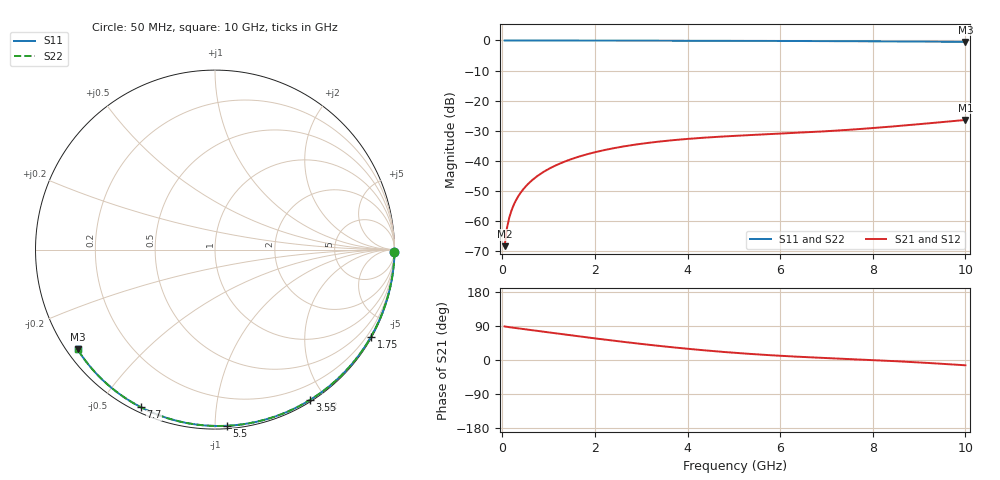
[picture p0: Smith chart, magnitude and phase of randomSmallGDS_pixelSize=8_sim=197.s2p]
! freq	dB(S11)	phase(S11)	dB(S12)	phase(S12)
!  dB(S21)	phase(S21)	dB(S22)	phase(S22)
!S-par simulation data
#  GHz  S  DB  R 50
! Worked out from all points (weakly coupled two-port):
!   200 points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, 50 MHz to 10 GHz, reference 50 ohm
!   highest |S21| = -26.39 dB at 10 GHz (marker M1); lowest = -68.3 dB at 50 MHz (marker M2)
!   lowest |S11| = -0.5 dB at 10 GHz (marker M3), VSWR 36.27, Z = 1.52 - j16.2 ohm
!   |S11| at or under -10 dB: nowhere
!   |S22| runs from -0.5 to 0.0 dB; largest |S21 - S12| = 0
!   S11 on the Smith chart (normalised r, x): 50 MHz: open; 1.75 GHz: 0.03, -3.84; 3.55 GHz: 0.02, -1.82; 5.5 GHz: 0.02, -1.07; 7.7 GHz: 0.02, -0.63; 10 GHz: 0.03, -0.32
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0.05  -0.00 -0.9  -68.28 88.7  -68.28 88.7  -0.00 -0.9
0.1  -0.00 -1.7  -62.30 87.5  -62.30 87.5  -0.00 -1.7
0.15  -0.00 -2.6  -58.83 86.6  -58.83 86.6  -0.00 -2.6
0.2  -0.00 -3.4  -56.37 85.7  -56.37 85.7  -0.00 -3.4
0.25  -0.00 -4.3  -54.47 84.9  -54.47 84.9  -0.00 -4.2
0.35  -0.00 -5.9  -51.59 83.4  -51.59 83.4  -0.00 -5.9
0.5  -0.01 -8.5  -48.54 81.0  -48.54 81.0  -0.01 -8.5
0.7  -0.01 -11.8  -45.67 77.8  -45.67 77.8  -0.01 -11.8
1  -0.02 -16.9  -42.66 73.0  -42.66 73.0  -0.02 -16.8
1.35  -0.03 -22.7  -40.18 67.3  -40.18 67.3  -0.03 -22.7
1.75  -0.04 -29.2  -38.12 61.0  -38.12 61.0  -0.04 -29.2
2.5  -0.05 -41.3  -35.49 49.5  -35.49 49.5  -0.05 -41.3
3.4  -0.07 -55.4  -33.54 37.1  -33.54 37.1  -0.07 -55.4
3.55  -0.08 -57.7  -33.30 35.1  -33.30 35.1  -0.08 -57.7
4.3  -0.10 -68.9  -32.33 26.2  -32.33 26.2  -0.10 -68.9
5.05  -0.12 -79.8  -31.64 18.7  -31.64 18.7  -0.12 -79.8
5.5  -0.14 -86.1  -31.29 14.8  -31.29 14.8  -0.14 -86.1
6.7  -0.20 -102.3  -30.38 6.8  -30.38 6.8  -0.20 -102.3
7.7  -0.26 -115.3  -29.42 1.4  -29.42 1.4  -0.26 -115.2
8.35  -0.31 -123.5  -28.65 -2.3  -28.65 -2.3  -0.31 -123.5
9.2  -0.39 -134.1  -27.51 -7.8  -27.51 -7.8  -0.39 -134.1
10  -0.48 -144.0  -26.39 -14.0  -26.39 -14.0  -0.48 -144.0
